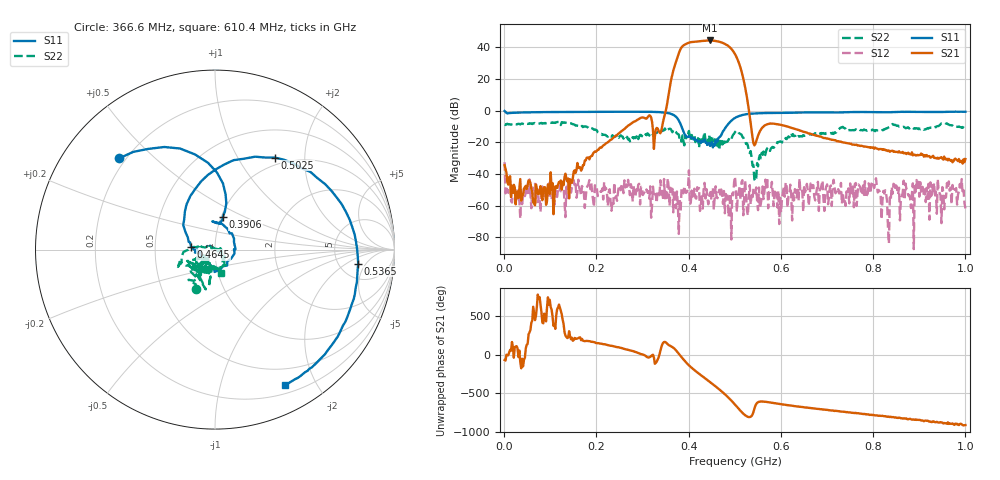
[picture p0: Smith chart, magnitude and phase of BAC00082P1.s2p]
!measured: 2026-10-27T14:55:06
!cal_instance: BBtestOct27
!cal_created: 2026-10-27T14:45
!cal_file: BBtesting.cal
!port1_delay_ps: -58.63
!port2_delay_ps: -59.31
!host: dhcp-10-250-247-203.harvard.edu
! Created with skrf 2.1.0 (http://scikit-rf.org).
# Hz S RI R 50.0
!freq ReS11 ImS11 ReS21 ImS21 ReS12 ImS12 ReS22 ImS22
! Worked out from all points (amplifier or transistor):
!   501 points, 1 MHz to 1 GHz, reference 50 ohm
!   highest |S21| = 44.3 dB at 446.6 MHz (marker M1)
!   |S21| within 3 dB of that: 389.6 MHz to 483.4 MHz (93.84 MHz wide, 21.5 % of centre)
!   unconditionally stable (mu >= 1): start of sweep to 399.4 MHz; 434.6 MHz to 500.4 MHz; 500.5 MHz to end of sweep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
!   at 166.8 MHz: K = 2972.91, MAG = -29.9 dB, |S12| = -53.7 dB
!   at 500.5 MHz: K = 0.99, MSG = 38.7 dB, |S12| = -41.6 dB
!   at 1 GHz: K = 2942.00, MAG = -22.1 dB, |S12| = -61.8 dB
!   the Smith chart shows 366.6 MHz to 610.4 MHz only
!   S11 on the Smith chart (normalised r, x): 366.6 MHz: 0.17, +0.39; 390.6 MHz: 1.02, +0.38; 464.5 MHz: 0.76, +0.02; 502.5 MHz: 0.88, +1.45; 536.5 MHz: 7.60, -3.33; 610.4 MHz: 0.29, -1.61
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1000000  -0.2554 0.9347  0.00739 -0.0173  -0.0213 0.00962  0.3555 -0.0926
1.68832e8  0.4924 -0.7661  -0.0128 -0.00666  0.00288 0.00299  -0.0304 -0.3264
3.34666e8  -0.8462 -0.3017  0.1862 -0.1402  -0.00111 -0.00212  0.0288 -0.1993
3.66634e8  -0.5335 0.5087  -1.166 18.07  -0.00033 -0.000516  -0.1069 -0.2221
3.82618e8  0.0445 0.3687  85.42 -24.77  0.000575 0.000279  -0.1224 -0.0616
3.9061e8  0.0437 0.1815  35.87 -113.6  0.00316 0.00261  -0.065 -0.0465
3.98602e8  0.0124 0.147  -77.71 -112.3  0.00274 0.00223  -0.1073 -0.1312
4.1059e8  0.0819 0.0908  -146.8 22.61  -0.00226 0.000239  -0.0458 -0.1221
4.28572e8  0.0674 -0.0888  7.268 158.2  0.00235 0.000134  -0.0307 -0.1078
4.46554e8  -0.0655 -0.0393  163.9 15.94  -0.00187 -0.0018  -0.0636 -0.033
4.54546e8  -0.0814 -0.0256  137.7 -83.89  0.000558 0.000485  -0.0513 -0.0973
4.64536e8  -0.1337 0.0149  27.66 -149.6  0.00164 0.00182  -0.0552 -0.0498
4.8052e8  -0.1586 0.2517  -118.1 -38.09  -0.00234 -0.00103  -0.0344 -0.097
4.9051e8  0.00551 0.4477  -72.86 62.91  0.00242 0.000287  -0.0795 -0.1149
5.005e8  0.2789 0.513  16.54 58.74  0.00754 0.00341  -0.1974 -0.0688
5.02498e8  0.3334 0.5128  26.37 47.03  0.00269 0.00175  -0.2057 -0.0965
5.14486e8  0.6127 0.3658  16.74 -6.043  0.000424 0.00532  -0.1754 -0.0129
5.36464e8  0.7979 -0.0783  0.0667 -0.2247  0.0018 0.00115  -0.0244 0.0216
6.1039e8  0.392 -0.7548  0.1123 0.3045  -0.00122 -0.00527  0.031 -0.1327
6.68332e8  0.0506 -0.8768  0.1594 0.0772  -0.000669 -0.0044  0.0251 -0.1739
8.34166e8  -0.6012 -0.6568  0.0058 -0.0545  -4.36e-05 4.57e-05  -0.1905 -0.2287
1e9  -0.8888 -0.2353  -0.0288 0.00631  -0.000142 0.000799  -0.2448 -0.1702
